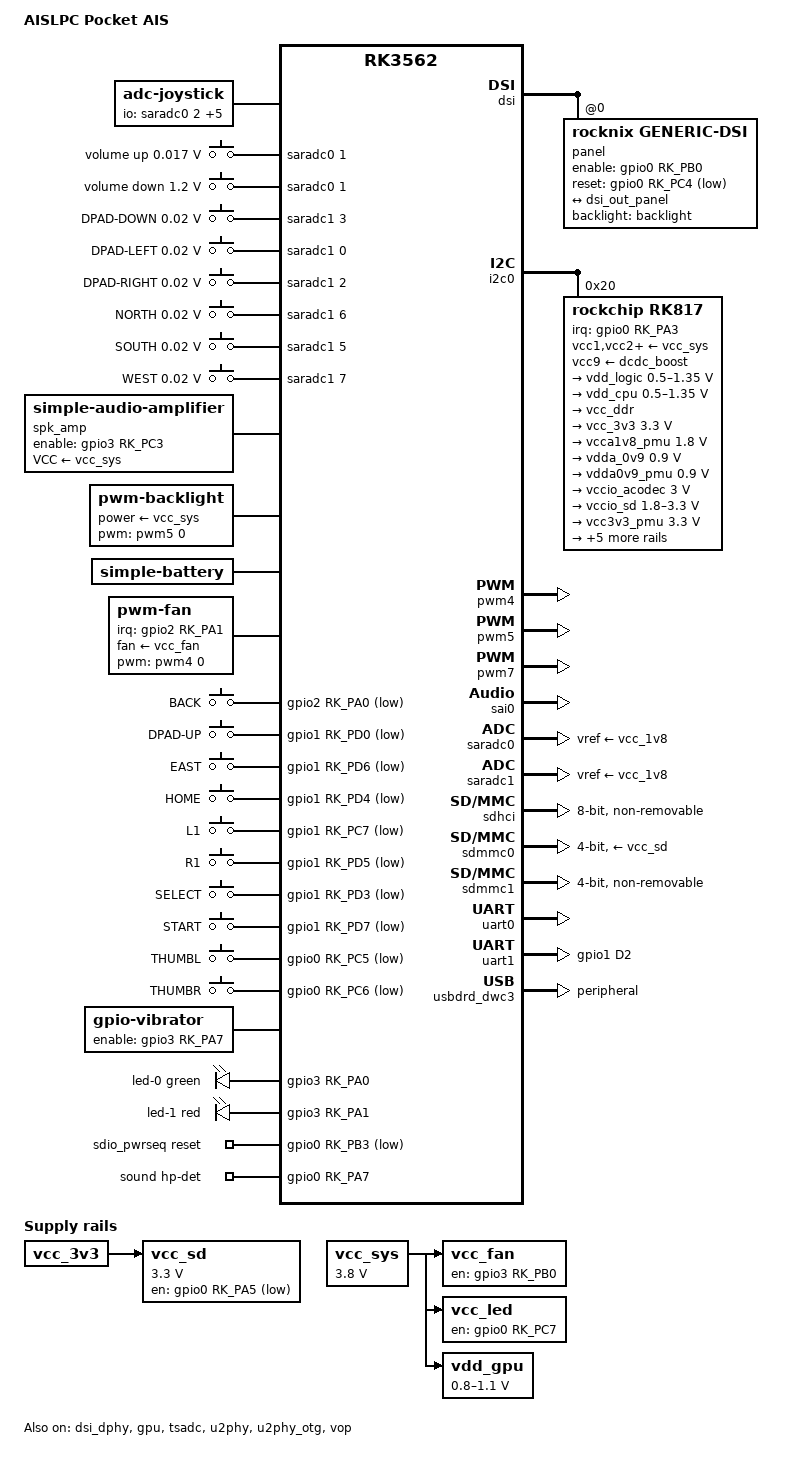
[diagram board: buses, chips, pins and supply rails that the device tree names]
// SPDX-License-Identifier: (GPL-2.0+ OR MIT)

/dts-v1/;

#include <dt-bindings/gpio/gpio.h>
#include <dt-bindings/input/input.h>
#include <dt-bindings/interrupt-controller/irq.h>
#include <dt-bindings/leds/common.h>
#include <dt-bindings/pinctrl/rockchip.h>
#include <dt-bindings/soc/rockchip,vop2.h>
#include "rk3562.dtsi"

/ {
	model = "AISLPC Pocket AIS";
	compatible = "aislpc,pocket-ais", "rockchip,rk3562";

	aliases {
		mmc0 = &sdhci;
		mmc1 = &sdmmc0;
		serial0 = &uart0;
		serial1 = &uart1;
	};

	chosen: chosen {
		stdout-path = "serial0:1500000n8";
	};

	adc-joystick {
		compatible = "adc-joystick";
		#address-cells = <1>;
		io-channels = <&saradc0 2>, <&saradc0 3>, <&saradc1 1>,
			      <&saradc0 5>, <&saradc0 6>, <&saradc1 4>;
		poll-interval = <16>;
		#size-cells = <0>;

		axis@0 {
			reg = <0>;
			abs-flat = <32>;
			abs-fuzz = <16>;
			abs-range = <15 1010>;
			linux,code = <ABS_X>;
		};

		axis@1 {
			reg = <1>;
			abs-flat = <32>;
			abs-fuzz = <16>;
			abs-range = <15 1010>;
			linux,code = <ABS_Y>;
		};

		axis@2 {
			reg = <2>;
			abs-fuzz = <8>;
			abs-range = <460 125>;
			linux,code = <ABS_Z>;
		};

		axis@3 {
			reg = <3>;
			abs-flat = <32>;
			abs-fuzz = <16>;
			abs-range = <1010 15>;
			linux,code = <ABS_RX>;
		};

		axis@4 {
			reg = <4>;
			abs-flat = <32>;
			abs-fuzz = <16>;
			abs-range = <1010 15>;
			linux,code = <ABS_RY>;
		};

		axis@5 {
			reg = <5>;
			abs-fuzz = <8>;
			abs-range = <440 15>;
			linux,code = <ABS_RZ>;
		};
	};

	adc-keys {
		compatible = "adc-keys";
		io-channels = <&saradc0 1>;
		io-channel-names = "buttons";
		keyup-threshold-microvolt = <1800000>;
		poll-interval = <100>;

		button-vol-up {
			label = "volume up";
			linux,code = <KEY_VOLUMEUP>;
			press-threshold-microvolt = <17000>;
		};

		button-vol-down {
			label = "volume down";
			linux,code = <KEY_VOLUMEDOWN>;
			press-threshold-microvolt = <1200000>;
		};
	};

	adc-keys-dpad-down {
		compatible = "adc-keys";
		io-channel-names = "buttons";
		io-channels = <&saradc1 3>;
		keyup-threshold-microvolt = <1800000>;
		poll-interval = <20>;

		button {
			label = "DPAD-DOWN";
			linux,code = <BTN_DPAD_DOWN>;
			press-threshold-microvolt = <20000>;
		};
	};

	adc-keys-dpad-left {
		compatible = "adc-keys";
		io-channel-names = "buttons";
		io-channels = <&saradc1 0>;
		keyup-threshold-microvolt = <1800000>;
		poll-interval = <20>;

		button {
			label = "DPAD-LEFT";
			linux,code = <BTN_DPAD_LEFT>;
			press-threshold-microvolt = <20000>;
		};
	};

	adc-keys-dpad-right {
		compatible = "adc-keys";
		io-channel-names = "buttons";
		io-channels = <&saradc1 2>;
		keyup-threshold-microvolt = <1800000>;
		poll-interval = <20>;

		button {
			label = "DPAD-RIGHT";
			linux,code = <BTN_DPAD_RIGHT>;
			press-threshold-microvolt = <20000>;
		};
	};

	adc-keys-north {
		compatible = "adc-keys";
		io-channel-names = "buttons";
		io-channels = <&saradc1 6>;
		keyup-threshold-microvolt = <1800000>;
		poll-interval = <20>;

		button {
			label = "NORTH";
			linux,code = <BTN_NORTH>;
			press-threshold-microvolt = <20000>;
		};
	};

	adc-keys-south {
		compatible = "adc-keys";
		io-channel-names = "buttons";
		io-channels = <&saradc1 5>;
		keyup-threshold-microvolt = <1800000>;
		poll-interval = <20>;

		button {
			label = "SOUTH";
			linux,code = <BTN_SOUTH>;
			press-threshold-microvolt = <20000>;
		};
	};

	adc-keys-west {
		compatible = "adc-keys";
		io-channel-names = "buttons";
		io-channels = <&saradc1 7>;
		keyup-threshold-microvolt = <1800000>;
		poll-interval = <20>;

		button {
			label = "WEST";
			linux,code = <BTN_WEST>;
			press-threshold-microvolt = <20000>;
		};
	};

	spk_amp: audio-amplifier {
		compatible = "simple-audio-amplifier";
		enable-gpios = <&gpio3 RK_PC3 GPIO_ACTIVE_HIGH>;
		pinctrl-0 = <&spk_amp_en>;
		pinctrl-names = "default";
		rocknix,enable-delay-ms = <100>;
		sound-name-prefix = "Speaker Amp";
		VCC-supply = <&vcc_sys>;
	};

	backlight: backlight {
		compatible = "pwm-backlight";
		brightness-levels = <0 255>;
		default-brightness-level = <200>;
		num-interpolated-steps = <255>;
		power-supply = <&vcc_sys>;
		pwms = <&pwm5 0 25000 0>;
	};

	battery: battery {
		compatible = "simple-battery";
		charge-full-design-microamp-hours = <3675000>;
		charge-term-current-microamp = <150000>;
		constant-charge-current-max-microamp = <2000000>;
		constant-charge-voltage-max-microvolt = <4350000>;
		factory-internal-resistance-micro-ohms = <107000>;
		voltage-max-design-microvolt = <4182000>;
		voltage-min-design-microvolt = <3500000>;

		ocv-capacity-celsius = <20>;
		ocv-capacity-table-0 =  <4182000 100>, <4103000 95>, <4057000 90>, <4041000 85>,
					<4036000 80>, <4029000 75>, <4007000 70>, <3969000 65>,
					<3931000 60>, <3912000 55>, <3896000 50>, <3865000 45>,
					<3843000 40>, <3821000 35>, <3794000 30>, <3755000 25>,
					<3703000 20>, <3648000 15>, <3596000 10>, <3549000 5>,
					<3500000 0>;
	};

	fan: pwm-fan {
		compatible = "pwm-fan";
		#cooling-cells = <2>;
		cooling-levels = <0 50 100 150 200 255>;
		fan-supply = <&vcc_fan>;
		interrupt-parent = <&gpio2>;
		interrupts = <RK_PA1 IRQ_TYPE_EDGE_FALLING>;
		pinctrl-0 = <&fan_tach>;
		pinctrl-names = "default";
		pwms = <&pwm4 0 50000 0>;
	};

	gpio-keys-control {
		compatible = "gpio-keys";
		pinctrl-0 = <&btn_pins>;
		pinctrl-names = "default";

		button-back {
			gpios = <&gpio2 RK_PA0 GPIO_ACTIVE_LOW>;
			label = "BACK";
			linux,code = <BTN_Z>;
		};

		button-dpad-up {
			gpios = <&gpio1 RK_PD0 GPIO_ACTIVE_LOW>;
			label = "DPAD-UP";
			linux,code = <BTN_DPAD_UP>;
		};

		button-east {
			gpios = <&gpio1 RK_PD6 GPIO_ACTIVE_LOW>;
			label = "EAST";
			linux,code = <BTN_EAST>;
		};

		button-home {
			gpios = <&gpio1 RK_PD4 GPIO_ACTIVE_LOW>;
			label = "HOME";
			linux,code = <BTN_MODE>;
		};

		button-l1 {
			gpios = <&gpio1 RK_PC7 GPIO_ACTIVE_LOW>;
			label = "L1";
			linux,code = <BTN_TL>;
		};

		button-r1 {
			gpios = <&gpio1 RK_PD5 GPIO_ACTIVE_LOW>;
			label = "R1";
			linux,code = <BTN_TR>;
		};

		button-select {
			gpios = <&gpio1 RK_PD3 GPIO_ACTIVE_LOW>;
			label = "SELECT";
			linux,code = <BTN_SELECT>;
		};

		button-start {
			gpios = <&gpio1 RK_PD7 GPIO_ACTIVE_LOW>;
			label = "START";
			linux,code = <BTN_START>;
		};

		button-thumbl {
			gpios = <&gpio0 RK_PC5 GPIO_ACTIVE_LOW>;
			label = "THUMBL";
			linux,code = <BTN_THUMBL>;
		};

		button-thumbr {
			gpios = <&gpio0 RK_PC6 GPIO_ACTIVE_LOW>;
			label = "THUMBR";
			linux,code = <BTN_THUMBR>;
		};
	};

	gpio-vibrator {
		compatible = "gpio-vibrator";
		enable-gpios = <&gpio3 RK_PA7 GPIO_ACTIVE_HIGH>;
		pinctrl-0 = <&vibrator_en>;
		pinctrl-names = "default";
	};

	leds {
		compatible = "gpio-leds";
		pinctrl-0 = <&charge_led_pins>;
		pinctrl-names = "default";

		led-0 {
			color = <LED_COLOR_ID_GREEN>;
			default-state = "on";
			function = LED_FUNCTION_POWER;
			gpios = <&gpio3 RK_PA0 GPIO_ACTIVE_HIGH>;
		};

		led-1 {
			color = <LED_COLOR_ID_RED>;
			function = LED_FUNCTION_CHARGING;
			gpios = <&gpio3 RK_PA1 GPIO_ACTIVE_HIGH>;
		};
	};

	sdio_pwrseq: sdio-pwrseq {
		compatible = "mmc-pwrseq-simple";
		clocks = <&rk817 1>;
		clock-names = "ext_clock";
		pinctrl-0 = <&wifi_reg_on>;
		pinctrl-names = "default";
		post-power-on-delay-ms = <200>;
		reset-gpios = <&gpio0 RK_PB3 GPIO_ACTIVE_LOW>;
	};

	sound {
		compatible = "simple-audio-card";
		pinctrl-0 = <&hp_det>;
		pinctrl-names = "default";
		simple-audio-card,name = "rk817_ext";
		simple-audio-card,aux-devs = <&spk_amp>;
		simple-audio-card,format = "i2s";
		simple-audio-card,hp-det-gpios = <&gpio0 RK_PA7 GPIO_ACTIVE_HIGH>;
		simple-audio-card,mclk-fs = <256>;
		simple-audio-card,pin-switches = "Internal Speakers";
		simple-audio-card,routing =
			"MICL", "Mic Jack",
			"Headphones", "HPOL",
			"Headphones", "HPOR",
			"Internal Speakers", "Speaker Amp OUTL",
			"Internal Speakers", "Speaker Amp OUTR",
			"Speaker Amp INL", "HPOL",
			"Speaker Amp INR", "HPOR";
		simple-audio-card,widgets =
			"Microphone", "Mic Jack",
			"Headphone", "Headphones",
			"Speaker", "Internal Speakers";

		simple-audio-card,codec {
			sound-dai = <&rk817>;
		};

		simple-audio-card,cpu {
			sound-dai = <&sai0>;
		};
	};

	vcc_fan: regulator-vcc-fan {
		compatible = "regulator-fixed";
		enable-active-high;
		gpio = <&gpio3 RK_PB0 GPIO_ACTIVE_HIGH>;
		pinctrl-0 = <&fan_en>;
		pinctrl-names = "default";
		regulator-name = "vcc_fan";
		vin-supply = <&vcc_sys>;
	};

	vcc_led: regulator-vcc-led {
		compatible = "regulator-fixed";
		enable-active-high;
		gpio = <&gpio0 RK_PC7 GPIO_ACTIVE_HIGH>;
		pinctrl-0 = <&led_en>;
		pinctrl-names = "default";
		regulator-always-on;
		regulator-boot-on;
		regulator-name = "vcc_led";
		vin-supply = <&vcc_sys>;
	};

	vcc_sd: regulator-vcc-sd {
		compatible = "regulator-fixed";
		gpio = <&gpio0 RK_PA5 GPIO_ACTIVE_LOW>;
		pinctrl-0 = <&vcc_sd_en>;
		pinctrl-names = "default";
		regulator-boot-on;
		regulator-max-microvolt = <3300000>;
		regulator-min-microvolt = <3300000>;
		regulator-name = "vcc_sd";
		vin-supply = <&vcc_3v3>;
	};

	vcc_sys: regulator-vcc-sys {
		compatible = "regulator-fixed";
		regulator-always-on;
		regulator-boot-on;
		regulator-max-microvolt = <3800000>;
		regulator-min-microvolt = <3800000>;
		regulator-name = "vcc_sys";
	};

	vdd_gpu: regulator-vdd-gpu {
		compatible = "pwm-regulator";
		pwms = <&pwm7 0 5000 1>;
		pwm-supply = <&vcc_sys>;
		regulator-always-on;
		regulator-boot-on;
		regulator-max-microvolt = <1100000>;
		regulator-min-microvolt = <800000>;
		regulator-name = "vdd_gpu";
		regulator-settling-time-up-us = <250>;
	};

	reserved-memory {
		#address-cells = <2>;
		#size-cells = <2>;
		ranges;

		linux,cma {
			compatible = "shared-dma-pool";
			reusable;
			size = <0x0 0x8000000>;
			alignment = <0x0 0x400000>;
			linux,cma-default;
		};
	};
};

&cpu0 {
	cpu-supply = <&vdd_cpu>;
};

&cpu1 {
	cpu-supply = <&vdd_cpu>;
};

&cpu2 {
	cpu-supply = <&vdd_cpu>;
};

&cpu3 {
	cpu-supply = <&vdd_cpu>;
};

&dsi {
	#address-cells = <1>;
	#size-cells = <0>;
	status = "okay";

	panel@0 {
		compatible = "rocknix,generic-dsi";
		reg = <0>;
		backlight = <&backlight>;
		enable-gpios = <&gpio0 RK_PB0 GPIO_ACTIVE_HIGH>;
		pinctrl-0 = <&lcd_en>, <&lcd_rst>;
		pinctrl-names = "default";
		reset-gpios = <&gpio0 RK_PC4 GPIO_ACTIVE_LOW>;

		panel_description =
			"G size=87,65 delays=20,20,20,120,20 format=rgb888 lanes=4 flags=0xa03",

			"M clock=61000 horizontal=1024,90,80,80 vertical=768,16,8,8 default=1",

			"I seq=ee01", "I seq=ea07", "I seq=eb12", "I seq=0a5e", "I seq=1314", "I seq=1735",
			"I seq=1d33", "I seq=2101", "I seq=2828", "I seq=2918", "I seq=2a63", "I seq=2ff3",
			"I seq=ee02", "I seq=39a9", "I seq=0000", "I seq=010d", "I seq=0212", "I seq=0308",
			"I seq=040e", "I seq=0530", "I seq=060b", "I seq=070e", "I seq=080f", "I seq=090e",
			"I seq=0a11", "I seq=0b4e", "I seq=0c14", "I seq=0d1a", "I seq=0e2f", "I seq=0f36",
			"I seq=103f", "I seq=2000", "I seq=210d", "I seq=2212", "I seq=2308", "I seq=240e",
			"I seq=2530", "I seq=260b", "I seq=270e", "I seq=280f", "I seq=290e", "I seq=2a11",
			"I seq=2b4e", "I seq=2c14", "I seq=2d1a", "I seq=2e2f", "I seq=2f36", "I seq=303f",
			"I seq=ee04", "I seq=0005", "I seq=0101", "I seq=0280", "I seq=0304", "I seq=0400",
			"I seq=0606", "I seq=0705", "I seq=081a", "I seq=0920", "I seq=0a0e", "I seq=0b00",
			"I seq=2040", "I seq=2408",
			"I seq=ee05", "I seq=0001", "I seq=0109", "I seq=0205", "I seq=0305", "I seq=0705",
			"I seq=080d", "I seq=0900", "I seq=0a12", "I seq=0b14", "I seq=0c66", "I seq=1003",
			"I seq=1107", "I seq=1205", "I seq=1305", "I seq=1912", "I seq=1af6", "I seq=4055",
			"I seq=4100", "I seq=4303", "I seq=4401", "I seq=4581", "I seq=4606", "I seq=4700",
			"I seq=ee06", "I seq=0045", "I seq=0201", "I seq=0488", "I seq=06cd", "I seq=08ef",
			"I seq=09cd", "I seq=0aab", "I seq=0b89", "I seq=0c67", "I seq=0d45", "I seq=0e23",
			"I seq=0f01",
			"I seq=ee07", "I seq=003c", "I seq=013c", "I seq=023c", "I seq=033c", "I seq=040d",
			"I seq=053c", "I seq=063c", "I seq=073c", "I seq=0808", "I seq=0910", "I seq=0a12",
			"I seq=0b14", "I seq=0c16", "I seq=0d18", "I seq=0e1a", "I seq=0f1c", "I seq=101e",
			"I seq=1104", "I seq=1200", "I seq=133c", "I seq=140c", "I seq=153c", "I seq=203c",
			"I seq=213c", "I seq=223c", "I seq=233c", "I seq=240d", "I seq=253c", "I seq=263c",
			"I seq=273c", "I seq=2808", "I seq=2911", "I seq=2a13", "I seq=2b15", "I seq=2c17",
			"I seq=2d19", "I seq=2e1b", "I seq=2f1d", "I seq=301f", "I seq=3105", "I seq=3201",
			"I seq=333c", "I seq=340c", "I seq=353c",
			"I seq=ee08", "I seq=1000", "I seq=12dc", "I seq=131c", "I seq=1723", "I seq=1820",
			"I seq=2080",
			"I seq=ee0f", "I seq=0001", "I seq=0100",
			"I seq=ee00", "I seq=ea00", "I seq=eb00", "I seq=3600",
			"I seq=11 wait=200",
			"I seq=29 wait=20";

		port {
			panel_in_dsi: endpoint {
				remote-endpoint = <&dsi_out_panel>;
			};
		};
	};
};

&dsi_dphy {
	status = "okay";
};

&dsi_in {
	dsi_in_vp0: endpoint {
		remote-endpoint = <&vp0_out_dsi>;
	};
};

&dsi_out {
	dsi_out_panel: endpoint {
		remote-endpoint = <&panel_in_dsi>;
	};
};

&gpu {
	clocks = <&scmi_clk CLK_GPU>;
	clock-names = "gpu";
	mali-supply = <&vdd_gpu>;
	resets = <&cru SRST_GPU>;
	status = "okay";
};

&i2c0 {
	status = "okay";

	rk817: pmic@20 {
		compatible = "rockchip,rk817";
		reg = <0x20>;
		#clock-cells = <1>;
		#sound-dai-cells = <0>;
		clock-names = "mclk";
		clock-output-names = "rk808-clkout1", "rk808-clkout2";
		clocks = <&cru MCLK_SAI0_TO_IO>;
		interrupt-parent = <&gpio0>;
		interrupts = <RK_PA3 IRQ_TYPE_LEVEL_LOW>;
		pinctrl-0 = <&i2s0m0_mclk>, <&pmic_int>;
		pinctrl-names = "default";
		system-power-controller;
		wakeup-source;

		vcc1-supply = <&vcc_sys>;
		vcc2-supply = <&vcc_sys>;
		vcc3-supply = <&vcc_sys>;
		vcc4-supply = <&vcc_sys>;
		vcc5-supply = <&vcc_sys>;
		vcc6-supply = <&vcc_sys>;
		vcc7-supply = <&vcc_sys>;
		vcc8-supply = <&vcc_sys>;
		vcc9-supply = <&dcdc_boost>;

		regulators {
			vdd_logic: DCDC_REG1 {
				regulator-always-on;
				regulator-boot-on;
				regulator-initial-mode = <0x2>;
				regulator-max-microvolt = <1350000>;
				regulator-min-microvolt = <500000>;
				regulator-name = "vdd_logic";
				regulator-ramp-delay = <6001>;

				regulator-state-mem {
					regulator-off-in-suspend;
					regulator-suspend-microvolt = <900000>;
				};
			};

			vdd_cpu: DCDC_REG2 {
				regulator-always-on;
				regulator-boot-on;
				regulator-initial-mode = <0x2>;
				regulator-max-microvolt = <1350000>;
				regulator-min-microvolt = <500000>;
				regulator-name = "vdd_cpu";
				regulator-ramp-delay = <6001>;

				regulator-state-mem {
					regulator-off-in-suspend;
				};
			};

			vcc_ddr: DCDC_REG3 {
				regulator-always-on;
				regulator-boot-on;
				regulator-initial-mode = <0x2>;
				regulator-name = "vcc_ddr";

				regulator-state-mem {
					regulator-on-in-suspend;
				};
			};

			vcc_3v3: DCDC_REG4 {
				regulator-always-on;
				regulator-boot-on;
				regulator-initial-mode = <0x2>;
				regulator-max-microvolt = <3300000>;
				regulator-min-microvolt = <3300000>;
				regulator-name = "vcc_3v3";

				regulator-state-mem {
					regulator-on-in-suspend;
					regulator-suspend-microvolt = <3300000>;
				};
			};

			vcca1v8_pmu: LDO_REG1 {
				regulator-always-on;
				regulator-boot-on;
				regulator-max-microvolt = <1800000>;
				regulator-min-microvolt = <1800000>;
				regulator-name = "vcca1v8_pmu";

				regulator-state-mem {
					regulator-on-in-suspend;
					regulator-suspend-microvolt = <1800000>;
				};
			};

			vdda_0v9: LDO_REG2 {
				regulator-always-on;
				regulator-boot-on;
				regulator-max-microvolt = <900000>;
				regulator-min-microvolt = <900000>;
				regulator-name = "vdda_0v9";

				regulator-state-mem {
					regulator-off-in-suspend;
				};
			};

			vdda0v9_pmu: LDO_REG3 {
				regulator-always-on;
				regulator-boot-on;
				regulator-max-microvolt = <900000>;
				regulator-min-microvolt = <900000>;
				regulator-name = "vdda0v9_pmu";

				regulator-state-mem {
					regulator-on-in-suspend;
					regulator-suspend-microvolt = <900000>;
				};
			};

			vccio_acodec: LDO_REG4 {
				regulator-always-on;
				regulator-boot-on;
				regulator-max-microvolt = <3000000>;
				regulator-min-microvolt = <3000000>;
				regulator-name = "vccio_acodec";

				regulator-state-mem {
					regulator-off-in-suspend;
				};
			};

			vccio_sd: LDO_REG5 {
				regulator-always-on;
				regulator-boot-on;
				regulator-max-microvolt = <3300000>;
				regulator-min-microvolt = <1800000>;
				regulator-name = "vccio_sd";

				regulator-state-mem {
					regulator-off-in-suspend;
				};
			};

			vcc3v3_pmu: LDO_REG6 {
				regulator-always-on;
				regulator-boot-on;
				regulator-max-microvolt = <3300000>;
				regulator-min-microvolt = <3300000>;
				regulator-name = "vcc3v3_pmu";

				regulator-state-mem {
					regulator-on-in-suspend;
					regulator-suspend-microvolt = <3000000>;
				};
			};

			vcc_1v8: LDO_REG7 {
				regulator-always-on;
				regulator-boot-on;
				regulator-max-microvolt = <1800000>;
				regulator-min-microvolt = <1800000>;
				regulator-name = "vcc_1v8";

				regulator-state-mem {
					regulator-off-in-suspend;
				};
			};

			vcc1v8_dvp: LDO_REG8 {
				regulator-max-microvolt = <1800000>;
				regulator-min-microvolt = <1800000>;
				regulator-name = "vcc1v8_dvp";

				regulator-state-mem {
					regulator-off-in-suspend;
				};
			};

			vcc2v8_dvp: LDO_REG9 {
				regulator-max-microvolt = <2800000>;
				regulator-min-microvolt = <2800000>;
				regulator-name = "vcc2v8_dvp";

				regulator-state-mem {
					regulator-off-in-suspend;
				};
			};

			dcdc_boost: BOOST {
				regulator-always-on;
				regulator-boot-on;
				regulator-max-microvolt = <5400000>;
				regulator-min-microvolt = <4700000>;
				regulator-name = "boost";

				regulator-state-mem {
					regulator-off-in-suspend;
				};
			};

			otg_switch: OTG_SWITCH {
				regulator-name = "otg_switch";

				regulator-state-mem {
					regulator-off-in-suspend;
				};
			};
		};

		rk817_charger: charger {
			monitored-battery = <&battery>;
			rockchip,resistor-sense-micro-ohms = <10000>;
			rockchip,sleep-enter-current-microamp = <300000>;
			rockchip,sleep-filter-current-microamp = <100000>;
		};
	};
};

&pinctrl {
	audio {
		hp_det: hp-det {
			rockchip,pins = <0 RK_PA7 RK_FUNC_GPIO &pcfg_pull_none>;
		};

		spk_amp_en: spk-amp-en {
			rockchip,pins = <3 RK_PC3 RK_FUNC_GPIO &pcfg_pull_none>;
		};
	};

	buttons {
		btn_pins: btn-pins {
			rockchip,pins = <0 RK_PC5 RK_FUNC_GPIO &pcfg_pull_up>,
					<0 RK_PC6 RK_FUNC_GPIO &pcfg_pull_up>,
					<1 RK_PC7 RK_FUNC_GPIO &pcfg_pull_up>,
					<1 RK_PD0 RK_FUNC_GPIO &pcfg_pull_up>,
					<1 RK_PD3 RK_FUNC_GPIO &pcfg_pull_up>,
					<1 RK_PD4 RK_FUNC_GPIO &pcfg_pull_up>,
					<1 RK_PD5 RK_FUNC_GPIO &pcfg_pull_up>,
					<1 RK_PD6 RK_FUNC_GPIO &pcfg_pull_up>,
					<1 RK_PD7 RK_FUNC_GPIO &pcfg_pull_up>,
					<2 RK_PA0 RK_FUNC_GPIO &pcfg_pull_up>;
		};

		vibrator_en: vibrator-en {
			rockchip,pins = <3 RK_PA7 RK_FUNC_GPIO &pcfg_pull_up>;
		};
	};

	fan {
		fan_en: fan-en {
			rockchip,pins = <3 RK_PB0 RK_FUNC_GPIO &pcfg_pull_up>;
		};

		fan_tach: fan-tach {
			rockchip,pins = <2 RK_PA1 RK_FUNC_GPIO &pcfg_pull_none>;
		};
	};

	lcd {
		lcd_en: lcd-en {
			rockchip,pins = <0 RK_PB0 RK_FUNC_GPIO &pcfg_pull_none>;
		};

		lcd_rst: lcd-rst {
			rockchip,pins = <0 RK_PC4 RK_FUNC_GPIO &pcfg_pull_none>;
		};
	};

	leds {
		charge_led_pins: charge-led-pins {
			rockchip,pins = <3 RK_PA0 RK_FUNC_GPIO &pcfg_pull_up>,
					<3 RK_PA1 RK_FUNC_GPIO &pcfg_pull_up>;
		};

		led_en: led-en {
			rockchip,pins = <0 RK_PC7 RK_FUNC_GPIO &pcfg_pull_up>;
		};

		led_mcu_tx: led-mcu-tx {
			rockchip,pins = <1 RK_PD2 1 &pcfg_pull_up>;
		};
	};

	pmic {
		pmic_int: pmic-int {
			rockchip,pins = <0 RK_PA3 RK_FUNC_GPIO &pcfg_pull_up>;
		};
	};

	wifi {
		wifi_reg_on: wifi-reg-on {
			rockchip,pins = <0 RK_PB3 RK_FUNC_GPIO &pcfg_pull_none>;
		};
	};

	vcc-sd {
		vcc_sd_en: vcc-sd-en {
			rockchip,pins = <0 RK_PA5 RK_FUNC_GPIO &pcfg_pull_down>;
		};
	};
};

&pwm4 {
	pinctrl-0 = <&pwm4m1_pins>;
	status = "okay";
};

&pwm5 {
	status = "okay";
};

&pwm7 {
	status = "okay";
};

&sai0 {
	status = "okay";
};

&saradc0 {
	vref-supply = <&vcc_1v8>;
	status = "okay";
};

&saradc1 {
	vref-supply = <&vcc_1v8>;
	status = "okay";
};

&sdhci {
	bus-width = <8>;
	full-pwr-cycle-in-suspend;
	mmc-hs400-1_8v;
	mmc-hs400-enhanced-strobe;
	no-sd;
	no-sdio;
	non-removable;
	status = "okay";
};

&sdmmc0 {
	bus-width = <4>;
	cap-mmc-highspeed;
	cap-sd-highspeed;
	disable-wp;
	no-mmc;
	no-sdio;
	pinctrl-0 = <&sdmmc0_bus4 &sdmmc0_clk &sdmmc0_cmd &sdmmc0_det>;
	pinctrl-names = "default";
	sd-uhs-sdr104;
	vmmc-supply = <&vcc_sd>;
	vqmmc-supply = <&vccio_sd>;
	status = "okay";
};

&sdmmc1 {
	bus-width = <4>;
	cap-sd-highspeed;
	cap-sdio-irq;
	keep-power-in-suspend;
	mmc-pwrseq = <&sdio_pwrseq>;
	no-mmc;
	no-sd;
	non-removable;
	pinctrl-0 = <&sdmmc1_bus4 &sdmmc1_clk &sdmmc1_cmd>;
	pinctrl-names = "default";
	sd-uhs-sdr104;
	status = "okay";
};

&soc_thermal {
	trips {
		fan_trip0: fan-trip-0 {
			temperature = <50000>;
			hysteresis = <2000>;
			type = "active";
		};

		fan_trip1: fan-trip-1 {
			temperature = <55000>;
			hysteresis = <2000>;
			type = "active";
		};

		fan_trip2: fan-trip-2 {
			temperature = <60000>;
			hysteresis = <2000>;
			type = "active";
		};

		fan_trip3: fan-trip-3 {
			temperature = <65000>;
			hysteresis = <2000>;
			type = "active";
		};

		fan_trip4: fan-trip-4 {
			temperature = <70000>;
			hysteresis = <2000>;
			type = "active";
		};
	};

	cooling-maps {
		map1 {
			trip = <&fan_trip0>;
			cooling-device = <&fan 1 1>;
		};

		map2 {
			trip = <&fan_trip1>;
			cooling-device = <&fan 2 2>;
		};

		map3 {
			trip = <&fan_trip2>;
			cooling-device = <&fan 3 3>;
		};

		map4 {
			trip = <&fan_trip3>;
			cooling-device = <&fan 4 4>;
		};

		map5 {
			trip = <&fan_trip4>;
			cooling-device = <&fan 5 5>;
		};
	};
};

&tsadc {
	status = "okay";
};

&u2phy {
	status = "okay";
};

&u2phy_otg {
	status = "okay";
};

&uart0 {
	pinctrl-0 = <&uart0m0_xfer>;
	pinctrl-names = "default";
	status = "okay";
};

&uart1 {
	pinctrl-0 = <&led_mcu_tx>;
	pinctrl-names = "default";
	status = "okay";
};

&usbdrd_dwc3 {
	dr_mode = "peripheral";
	maximum-speed = "high-speed";
	snps,dis_u2_susphy_quirk;
	snps,usb2-lpm-disable;
	status = "okay";
};

&vop {
	assigned-clocks = <&cru PLL_VPLL>, <&cru DCLK_VOP>;
	assigned-clock-parents = <0>, <&cru PLL_VPLL>;
	assigned-clock-rates = <1464000000>, <0>;
	status = "okay";
};

&vop_mmu {
	status = "okay";
};

&vp0 {
	vp0_out_dsi: endpoint@ROCKCHIP_VOP2_EP_MIPI0 {
		reg = <ROCKCHIP_VOP2_EP_MIPI0>;
		remote-endpoint = <&dsi_in_vp0>;
	};
};
